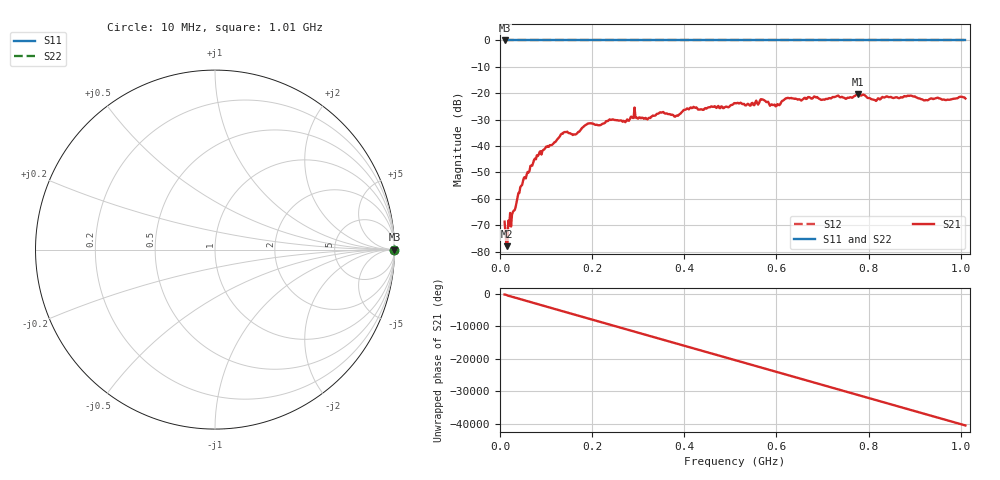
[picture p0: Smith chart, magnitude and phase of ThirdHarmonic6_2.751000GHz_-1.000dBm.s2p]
! 8/17/2025 6:53:10 AM
! C:\ANRITSUVNA\TEMP\TEMP.S2P
! CHANNEL.1
! TR.MEASUREMENT
! RAW.DATA
! RF.CORRECTION.OFF
! AVERAGING.OFF
! IF.BANDWIDTH: 5KHZ
! SWEEPTYPE:  FREQ.SWEEP(Linear)
! Reference Plane Port Info
! PORT:  PORT1  PORT2
! DISTANCE:  0  m  0  m
! TIME:  0  s  0  s
! PHASE.OFFSET:  0  deg.  0  deg.
! LOSS:  0  dB  0  dB
! REF.LOSS:  0  dB  0  dB
! REF.FREQ:  0  Hz  0  Hz
! Power Info
! POWER:  -20  dBm  -20  dBm
! EFF.POWER:  -20  dBm  -20  dBm
! SOURCE.ATTEN:  0  dB  0  dB
! TEST.ATTEN:  0  dB  0  dB
# GHZ S RI R 50.0
! FREQ.GHZ  S11RE  S11IM  S21RE  S21IM  S12RE  S12IM  S22RE  S22IM
!; PortSelection: Port_12
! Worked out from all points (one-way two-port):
!   501 points, 10 MHz to 1.01 GHz, reference 50 ohm
!   highest |S21| = -20.38 dB at 776 MHz (marker M1); lowest = -78.0 dB at 16 MHz (marker M2)
!   lowest |S11| = 0.0 dB at 10 MHz (marker M3)
!   |S11| at or under -10 dB: nowhere
!   |S22| runs from 0.0 to 0.0 dB; largest |S21 - S12| = 1.1
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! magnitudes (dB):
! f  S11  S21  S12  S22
! 10 MHz  0.0  -68.7  0.0  0.0
! 16 MHz  0.0  -78.0  0.0  0.0
! 22 MHz  0.0  -65.4  0.0  0.0
! 48 MHz  0.0  -54.8  0.0  0.0
! 84 MHz  0.0  -43.3  0.0  0.0
! 136 MHz  0.0  -35.4  0.0  0.0
! 162 MHz  0.0  -35.6  0.0  0.0
! 178 MHz  0.0  -33.2  0.0  0.0
! 194 MHz  0.0  -31.4  0.0  0.0
! 322 MHz  0.0  -29.5  0.0  0.0
! 344 MHz  0.0  -27.7  0.0  0.0
! 382 MHz  0.0  -28.6  0.0  0.0
! 416 MHz  0.0  -25.6  0.0  0.0
! 510 MHz  0.0  -23.7  0.0  0.0
! 570 MHz  0.0  -22.3  0.0  0.0
! 602 MHz  0.0  -24.1  0.0  0.0
! 624 MHz  0.0  -21.7  0.0  0.0
! 678 MHz  0.0  -22.0  0.0  0.0
! 776 MHz  0.0  -20.4  0.0  0.0
! 814 MHz  0.0  -22.7  0.0  0.0
! 844 MHz  0.0  -21.5  0.0  0.0
! 1.01 GHz  0.0  -22.0  0.0  0.0
